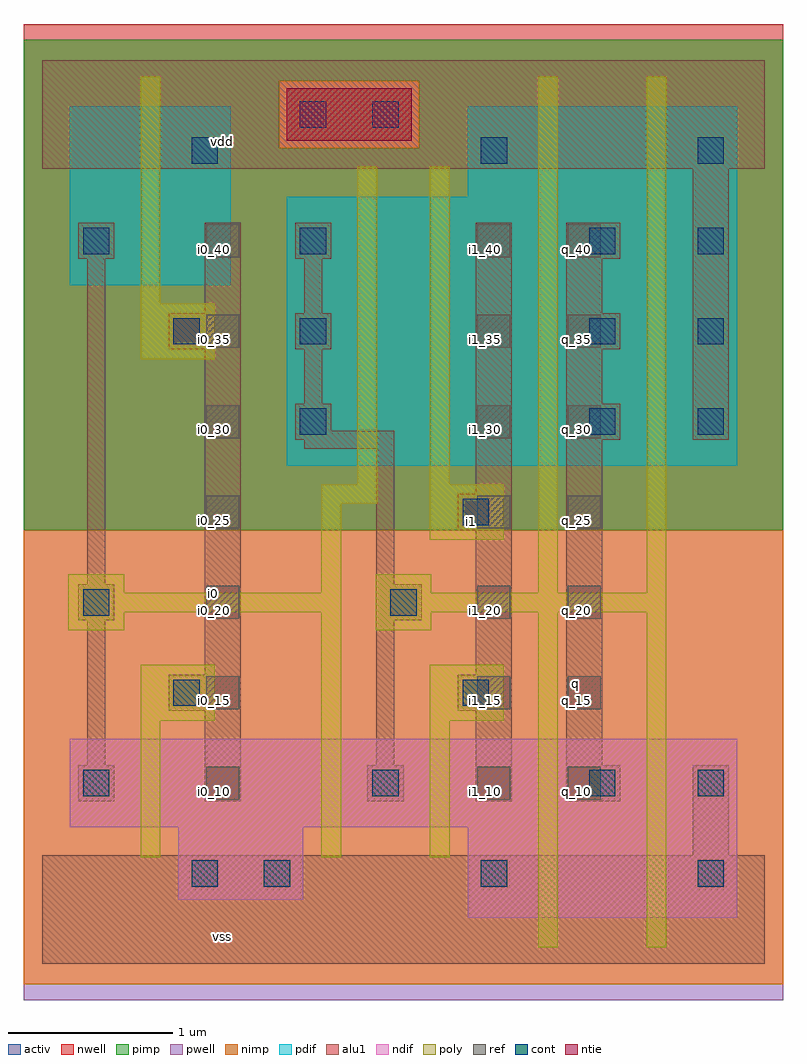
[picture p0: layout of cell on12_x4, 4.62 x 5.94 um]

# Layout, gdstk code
import gdstk
lib = gdstk.Library(unit=1e-6, precision=2.5e-09)
def R(c, l, rs):  # rectangles x0, y0, x1, y1
    for r in rs: c.add(gdstk.rectangle(r[:2], r[2:], *l))
def A(c, l, x, y, w, h, nx, ny, dx, dy):  # array of equal rectangles
    R(c, l, [(x+i*dx, y+j*dy, x+i*dx+w, y+j*dy+h) for i in range(nx) for j in range(ny)])
ndif = (3, 0)
pdif = (4, 0)
ntie = (5, 0)
ref = (24, 0)
cont = (25, 0)
pwell = (41, 0)
nwell = (42, 0)
activ = (43, 0)
pimp = (44, 0)
nimp = (45, 0)
poly = (46, 0)
alu1 = (49, 0)

on12_x4 = lib.new_cell('on12_x4')
R(on12_x4, ndif, [(2.59,0.28,4.23,0.83), (2.59,0.28,4.23,0.83), (0.83,0.39,1.59,0.83), (0.83,0.39,1.59,0.83), (0.17,0.83,4.23,1.37), (0.17,0.83,4.23,1.37)])
R(on12_x4, pdif, [(1.49,3.03,4.23,4.67), (1.49,3.03,4.23,4.67), (0.17,4.13,1.15,5.22), (0.17,4.13,1.15,5.22), (2.59,4.67,4.23,5.22), (2.59,4.67,4.23,5.22)])
R(on12_x4, ntie, [(1.49,5.01,2.25,5.33), (1.49,5.01,2.25,5.33)])
A(on12_x4, ref, 1, 1, 0.2, 0.2, 1, 7, 0, 0.55)
A(on12_x4, ref, 2.65, 1, 0.2, 0.2, 1, 7, 0, 0.55)
A(on12_x4, ref, 3.2, 1, 0.2, 0.2, 1, 7, 0, 0.55)
A(on12_x4, cont, 1.35, 0.47, 0.16, 0.16, 3, 1, 1.32, 0)
A(on12_x4, cont, 1.57, 3.22, 0.16, 0.16, 1, 3, 0, 0.55)
A(on12_x4, cont, 3.33, 3.22, 0.16, 0.16, 1, 3, 0, 0.55)
A(on12_x4, cont, 3.99, 3.22, 0.16, 0.16, 1, 4, 0, 0.55)
R(on12_x4, cont, [(0.91,0.47,1.07,0.63), (0.25,1.02,0.41,1.18), (2.01,1.02,2.17,1.18), (3.33,1.02,3.49,1.18), (3.99,1.02,4.15,1.18), (0.8,1.57,0.96,1.73), (2.56,1.57,2.72,1.73), (0.25,2.12,0.41,2.28), (2.12,2.12,2.28,2.28), (2.56,2.67,2.72,2.83), (0.8,3.77,0.96,3.93), (0.25,4.32,0.41,4.48), (0.91,4.87,1.07,5.03), (2.67,4.87,2.83,5.03), (1.57,5.09,1.73,5.25), (2.01,5.09,2.17,5.25)])
R(on12_x4, pwell, [(-0.11,-0.22,4.51,2.64)])
R(on12_x4, nwell, [(-0.11,2.64,4.51,5.72)])
R(on12_x4, activ, [(2.59,0.28,4.23,0.83), (2.59,0.28,4.23,0.83), (0.83,0.39,1.59,0.83), (0.83,0.39,1.59,0.83), (0.17,0.83,4.23,1.37), (0.17,0.83,4.23,1.37), (1.49,3.03,4.23,4.67), (1.49,3.03,4.23,4.67), (0.17,4.13,1.15,5.22), (0.17,4.13,1.15,5.22), (2.59,4.67,4.23,5.22), (2.59,4.67,4.23,5.22), (1.49,5.01,2.25,5.33), (1.49,5.01,2.25,5.33)])
R(on12_x4, pimp, [(-0.11,2.64,4.51,4.965), (-0.11,4.965,1.445,5.375), (2.295,4.965,4.51,5.375), (-0.11,5.375,4.51,5.625)])
R(on12_x4, nimp, [(-0.11,-0.125,4.51,2.64), (1.445,4.965,2.295,5.375)])
R(on12_x4, poly, [(3.02,0.1,3.14,2.14), (3.68,0.1,3.8,2.14), (0.6,0.65,0.72,1.48), (1.7,0.65,1.82,2.14), (2.36,0.65,2.48,1.48), (0.6,1.48,1.05,1.82), (2.36,1.48,2.81,1.82), (0.16,2.03,0.5,2.14), (2.03,2.03,2.37,2.14), (0.16,2.14,1.82,2.26), (2.03,2.14,3.8,2.26), (0.16,2.26,0.5,2.37), (1.7,2.26,1.82,2.8), (2.03,2.26,2.37,2.37), (3.02,2.26,3.14,5.4), (3.68,2.26,3.8,5.4), (2.36,2.58,2.81,2.92), (1.7,2.8,2.04,2.92), (1.92,2.92,2.04,4.85), (2.36,2.92,2.48,4.85), (0.6,3.68,1.05,4.02), (0.6,4.02,0.72,5.4)])
A(on12_x4, alu1, 3.19, 3.19, 0.33, 0.22, 1, 3, 0, 0.55)
R(on12_x4, alu1, [(0,0,4.4,0.66), (3.96,0.66,4.18,1.21), (0.22,0.99,0.44,1.21), (0.99,0.99,1.21,1.54), (1.98,0.99,2.2,1.21), (2.64,0.99,2.86,1.54), (3.19,0.99,3.52,1.21), (0.275,1.21,0.385,2.09), (2.035,1.21,2.145,2.09), (3.19,1.21,3.41,3.19), (0.77,1.54,1.21,1.76), (2.53,1.54,2.86,1.76), (0.99,1.76,1.21,3.74), (2.64,1.76,2.86,2.64), (0.22,2.09,0.44,2.31), (2.035,2.09,2.31,2.31), (0.275,2.31,0.385,4.29), (2.035,2.31,2.145,3.135), (2.53,2.64,2.86,2.86), (2.64,2.86,2.86,4.51), (1.595,3.135,2.145,3.19), (1.54,3.19,2.145,3.245), (3.96,3.19,4.18,4.84), (1.54,3.245,1.76,3.41), (1.595,3.41,1.705,3.74), (3.19,3.41,3.41,3.74), (0.77,3.74,1.21,3.96), (1.54,3.74,1.76,3.96), (0.99,3.96,1.21,4.51), (1.595,3.96,1.705,4.29), (3.19,3.96,3.41,4.29), (0.22,4.29,0.44,4.51), (1.54,4.29,1.76,4.51), (0,4.84,4.4,5.5)])
on12_x4.add(gdstk.Label('vss', (1.1,0.165), layer=49, texttype=0))
on12_x4.add(gdstk.Label('q', (3.245,1.705), layer=49, texttype=0))
on12_x4.add(gdstk.Label('i1', (2.6125,2.695), layer=49, texttype=0))
on12_x4.add(gdstk.Label('i0', (1.045,2.255), layer=49, texttype=0))
on12_x4.add(gdstk.Label('vdd', (1.1,5.005), layer=49, texttype=0))
on12_x4.add(gdstk.Label('i0_10', (1.05,1.05), layer=24, texttype=0))
on12_x4.add(gdstk.Label('i0_40', (1.05,4.35), layer=24, texttype=0))
on12_x4.add(gdstk.Label('i0_30', (1.05,3.25), layer=24, texttype=0))
on12_x4.add(gdstk.Label('i0_35', (1.05,3.8), layer=24, texttype=0))
on12_x4.add(gdstk.Label('i0_15', (1.05,1.6), layer=24, texttype=0))
on12_x4.add(gdstk.Label('i0_20', (1.05,2.15), layer=24, texttype=0))
on12_x4.add(gdstk.Label('i0_25', (1.05,2.7), layer=24, texttype=0))
on12_x4.add(gdstk.Label('q_10', (3.25,1.05), layer=24, texttype=0))
on12_x4.add(gdstk.Label('i1_10', (2.7,1.05), layer=24, texttype=0))
on12_x4.add(gdstk.Label('i1_15', (2.7,1.6), layer=24, texttype=0))
on12_x4.add(gdstk.Label('i1_40', (2.7,4.35), layer=24, texttype=0))
on12_x4.add(gdstk.Label('i1_35', (2.7,3.8), layer=24, texttype=0))
on12_x4.add(gdstk.Label('i1_30', (2.7,3.25), layer=24, texttype=0))
on12_x4.add(gdstk.Label('i1_25', (2.7,2.7), layer=24, texttype=0))
on12_x4.add(gdstk.Label('q_40', (3.25,4.35), layer=24, texttype=0))
on12_x4.add(gdstk.Label('q_35', (3.25,3.8), layer=24, texttype=0))
on12_x4.add(gdstk.Label('q_30', (3.25,3.25), layer=24, texttype=0))
on12_x4.add(gdstk.Label('q_25', (3.25,2.7), layer=24, texttype=0))
on12_x4.add(gdstk.Label('q_20', (3.25,2.15), layer=24, texttype=0))
on12_x4.add(gdstk.Label('q_15', (3.25,1.6), layer=24, texttype=0))
on12_x4.add(gdstk.Label('i1_20', (2.7,2.15), layer=24, texttype=0))

lib.write_gds('on12_x4.gds')
